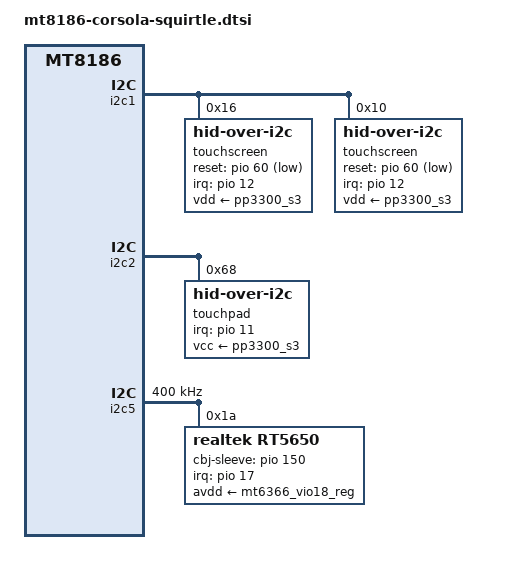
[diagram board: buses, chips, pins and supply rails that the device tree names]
// SPDX-License-Identifier: (GPL-2.0 OR MIT)
/*
 * Copyright 2024 Google LLC
 */

/dts-v1/;
#include "mt8186-corsola-voltorb.dtsi"

/delete-node/ &rt1019p;
/delete-node/ &max98360a;
/delete-node/ &rt5682s;
/delete-node/ &touchscreen;

&i2c1 {
	pinctrl-names = "default";
	pinctrl-0 = <&i2c1_pins &touchscreen_pins>;

	touchscreen@16 {
		status = "okay";
		compatible = "hid-over-i2c";
		reg = <0x16>;
		interrupts-extended = <&pio 12 IRQ_TYPE_LEVEL_LOW>;
		reset-gpios = <&pio 60 GPIO_ACTIVE_LOW>;
		vdd-supply = <&pp3300_s3>;
		post-power-on-delay-ms = <450>;
		hid-descr-addr = <0x0001>;
	};

	touchscreen@10 {
		status = "okay";
		compatible = "hid-over-i2c";
		reg = <0x10>;
		interrupts-extended = <&pio 12 IRQ_TYPE_LEVEL_LOW>;
		reset-gpios = <&pio 60 GPIO_ACTIVE_LOW>;
		vdd-supply = <&pp3300_s3>;
		post-power-on-delay-ms = <450>;
		hid-descr-addr = <0x0001>;
	};
};

&i2c2 {
	/delete-node/ touchpad@2c;
	touchpad@68 {
		compatible = "hid-over-i2c";
		reg = <0x68>;
		hid-descr-addr = <0x20>;
		interrupts-extended = <&pio 11 IRQ_TYPE_LEVEL_LOW>;
		vcc-supply = <&pp3300_s3>;
		wakeup-source;
	};
};

&i2c5 {
	clock-frequency = <400000>;

	rt5650: rt5650@1a {
		compatible = "realtek,rt5650";
		reg = <0x1a>;
		avdd-supply = <&mt6366_vio18_reg>;
		pinctrl-names = "default";
		pinctrl-0 = <&rt1019p_pins_default>;
		cbj-sleeve-gpio = <&pio 150 GPIO_ACTIVE_HIGH>;
		interrupt-parent = <&pio>;
		interrupts = <17 IRQ_TYPE_EDGE_BOTH>;
		#sound-dai-cells = <0>;
		realtek,dmic1-data-pin = <2>;
		realtek,jd-mode = <2>;
	};
};

&sound {
	status = "okay";

	compatible = "mediatek,mt8186-mt6366-rt5650-sound";
	mediatek,adsp = <&adsp>;

	playback-codecs {
		sound-dai = <&it6505dptx>;
	};

	headset-codec {
		sound-dai = <&rt5650>;
	};
};
